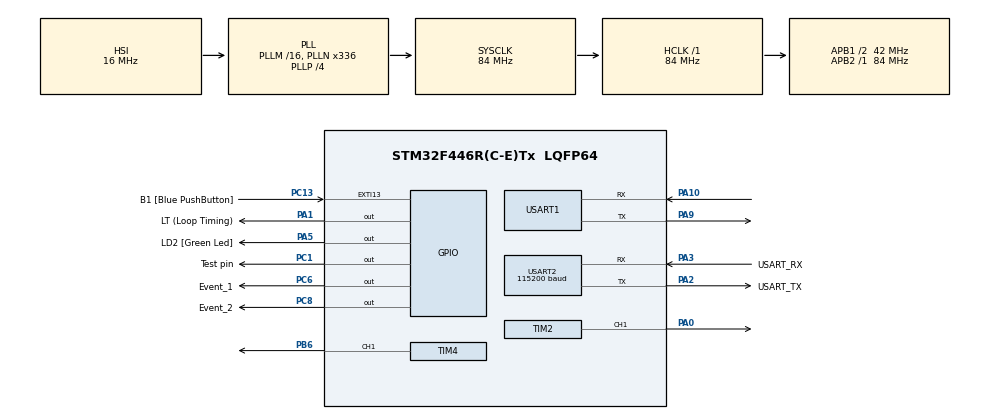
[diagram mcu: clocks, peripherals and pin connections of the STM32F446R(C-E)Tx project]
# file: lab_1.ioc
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ADC1.Channel-1\#ChannelRegularConversion=ADC_CHANNEL_TEMPSENSOR
ADC1.ContinuousConvMode=DISABLE
ADC1.NbrOfConversionFlag=1
ADC1.Rank-1\#ChannelRegularConversion=1
ADC1.SamplingTime-1\#ChannelRegularConversion=ADC_SAMPLETIME_3CYCLES
ADC1.master=1
Mcu.Family=STM32F4
Mcu.Name=STM32F446R(C-E)Tx
Mcu.Package=LQFP64
NVIC.ADC_IRQn=true\:1\:0\:true\:false\:true\:true\:true
NVIC.EXTI15_10_IRQn=true\:1\:0\:true\:false\:true\:true\:true
NVIC.PriorityGroup=NVIC_PRIORITYGROUP_2
NVIC.TIM2_IRQn=true\:0\:0\:false\:false\:true\:true\:true
NVIC.USART2_IRQn=true\:1\:0\:true\:false\:true\:true\:true
PA0-WKUP.Signal=S_TIM2_CH1_ETR
PA1.GPIO_Label=LT (Loop Timing)
PA1.Signal=GPIO_Output
PA10.Mode=Asynchronous
PA10.Signal=USART1_RX
PA13.GPIO_Label=TMS
PA13.Mode=Serial_Wire
PA13.Signal=SYS_JTMS-SWDIO
PA14.GPIO_Label=TCK
PA14.Mode=Serial_Wire
PA14.Signal=SYS_JTCK-SWCLK
PA2.GPIO_Label=USART_TX
PA2.Mode=Asynchronous
PA2.Signal=USART2_TX
PA3.GPIO_Label=USART_RX
PA3.Mode=Asynchronous
PA3.Signal=USART2_RX
PA5.GPIO_Label=LD2 [Green Led]
PA5.Signal=GPIO_Output
PA9.Mode=Asynchronous
PA9.Signal=USART1_TX
PB3.GPIO_Label=SWO
PB3.Signal=SYS_JTDO-SWO
PB6.Signal=S_TIM4_CH1
PC1.GPIO_Label=Test pin
PC1.GPIO_ModeDefaultOutputPP=GPIO_MODE_OUTPUT_PP
PC1.Signal=GPIO_Output
PC13.GPIO_Label=B1 [Blue PushButton]
PC13.GPIO_ModeDefaultEXTI=GPIO_MODE_IT_FALLING
PC13.Signal=GPXTI13
PC14-OSC32_IN.Mode=LSE-External-Oscillator
PC14-OSC32_IN.Signal=RCC_OSC32_IN
PC15-OSC32_OUT.Mode=LSE-External-Oscillator
PC15-OSC32_OUT.Signal=RCC_OSC32_OUT
PC6.GPIO_Label=Event_1
PC6.Signal=GPIO_Output
PC8.GPIO_Label=Event_2
PC8.Signal=GPIO_Output
PH0-OSC_IN.Mode=HSE-External-Oscillator
PH0-OSC_IN.Signal=RCC_OSC_IN
PH1-OSC_OUT.Mode=HSE-External-Oscillator
PH1-OSC_OUT.Signal=RCC_OSC_OUT
ProjectManager.HeapSize=0x200
ProjectManager.StackSize=0x400
ProjectManager.TargetToolchain=STM32CubeIDE
RCC.48MHZClocksFreq_Value=84000000
RCC.AHBFreq_Value=84000000
RCC.APB1CLKDivider=RCC_HCLK_DIV2
RCC.APB1Freq_Value=42000000
RCC.APB1TimFreq_Value=84000000
RCC.APB2Freq_Value=84000000
RCC.APB2TimFreq_Value=84000000
RCC.CortexFreq_Value=84000000
RCC.FLatency-AdvancedSettings=FLASH_LATENCY_2
RCC.HCLKFreq_Value=84000000
RCC.HSE_VALUE=8000000
RCC.HSI_VALUE=16000000
RCC.PLLN=336
RCC.PLLP=RCC_PLLP_DIV4
RCC.SYSCLKFreq_VALUE=84000000
RCC.SYSCLKSource=RCC_SYSCLKSOURCE_PLLCLK
RCC.USBFreq_Value=168000000
RCC.VCOOutputFreq_Value=336000000
SH.S_TIM2_CH1_ETR.0=TIM2_CH1,Output Compare1 CH1
SH.S_TIM4_CH1.0=TIM4_CH1,Output Compare1 CH1
TIM2.Channel-Output\ Compare1\ CH1=TIM_CHANNEL_1
TIM2.OCMode_1=TIM_OCMODE_TIMING
TIM2.Period=7000000
TIM2.Prescaler=11
TIM4.AutoReloadPreload=TIM_AUTORELOAD_PRELOAD_ENABLE
TIM4.Channel-Output\ Compare1\ CH1=TIM_CHANNEL_1
TIM4.CounterMode=TIM_COUNTERMODE_DOWN
TIM4.OCMode_1=TIM_OCMODE_TOGGLE
TIM4.Period=10000
TIM4.Prescaler=83
TIM4.Pulse-Output\ Compare1\ CH1=10
USART1.VirtualMode=VM_ASYNC
USART2.BaudRate=115200
USART2.VirtualMode=VM_ASYNC
VP_ADC1_TempSens_Input.Mode=IN-TempSens
VP_TIM2_VS_ClockSourceINT.Mode=Internal
VP_TIM4_VS_ClockSourceINT.Mode=Internal
board=NUCLEO-F446RE

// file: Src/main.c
/* USER CODE BEGIN Header */
/**
  ******************************************************************************
  * @file           : main.c
  * @brief          : Main program body
  ******************************************************************************
  ** This notice applies to any and all portions of this file
  * that are not between comment pairs USER CODE BEGIN and
  * USER CODE END. Other portions of this file, whether
  * inserted by the user or by software development tools
  * are owned by their respective copyright owners.
  *
  * COPYRIGHT(c) 2019 STMicroelectronics
  *
  * Redistribution and use in source and binary forms, with or without modification,
  * are permitted provided that the following conditions are met:
  *   1. Redistributions of source code must retain the above copyright notice,
  *      this list of conditions and the following disclaimer.
  *   2. Redistributions in binary form must reproduce the above copyright notice,
  *      this list of conditions and the following disclaimer in the documentation
  *      and/or other materials provided with the distribution.
  *   3. Neither the name of STMicroelectronics nor the names of its contributors
  *      may be used to endorse or promote products derived from this software
  *      without specific prior written permission.
  *
  * THIS SOFTWARE IS PROVIDED BY THE COPYRIGHT HOLDERS AND CONTRIBUTORS "AS IS"
  * AND ANY EXPRESS OR IMPLIED WARRANTIES, INCLUDING, BUT NOT LIMITED TO, THE
  * IMPLIED WARRANTIES OF MERCHANTABILITY AND FITNESS FOR A PARTICULAR PURPOSE ARE
  * DISCLAIMED. IN NO EVENT SHALL THE COPYRIGHT HOLDER OR CONTRIBUTORS BE LIABLE
  * FOR ANY DIRECT, INDIRECT, INCIDENTAL, SPECIAL, EXEMPLARY, OR CONSEQUENTIAL
  * DAMAGES (INCLUDING, BUT NOT LIMITED TO, PROCUREMENT OF SUBSTITUTE GOODS OR
  * SERVICES; LOSS OF USE, DATA, OR PROFITS; OR BUSINESS INTERRUPTION) HOWEVER
  * CAUSED AND ON ANY THEORY OF LIABILITY, WHETHER IN CONTRACT, STRICT LIABILITY,
  * OR TORT (INCLUDING NEGLIGENCE OR OTHERWISE) ARISING IN ANY WAY OUT OF THE USE
  * OF THIS SOFTWARE, EVEN IF ADVISED OF THE POSSIBILITY OF SUCH DAMAGE.
  *
  ******************************************************************************
  */
/* USER CODE END Header */
#include "main.h"

/* USER CODE BEGIN Includes */
#include "tasks_lab_1.h"
#include "loop_timer.h"
#include "../Drivers/RTS_libs/FEAT_Scheduler/sch_basic_pub.h"
#include <string.h>

/* USER CODE END Includes */

ADC_HandleTypeDef hadc1;

TIM_HandleTypeDef htim2;
TIM_HandleTypeDef htim4;

UART_HandleTypeDef huart1;
UART_HandleTypeDef huart2;

/* USER CODE BEGIN PV */
struct loop_timer TX_LT = {.location = UART_TX_LOOP, .loop_counting = 0xFF};
struct loop_timer ADC_LT = {.location = ADC_LOOP, .loop_counting = 0xFF};
struct loop_timer RX_LT = {.location = UART_RX_LOOP, .loop_counting = 0xFF};
struct loop_timer BLT = {.location = BLINK_LOOP, .loop_counting = 0xFF};

uint8_t msg1[] = "Triggered!";
uint8_t msg_help[] = "This code monitors for blue/user button trigger, and reads ADC1 when asked with letter 't'";

/* USER CODE END PV */

void SystemClock_Config(void);
static void MX_GPIO_Init(void);
static void MX_USART2_UART_Init(void);
static void MX_ADC1_Init(void);
static void MX_TIM4_Init(void);
static void MX_TIM2_Init(void);
static void MX_USART1_UART_Init(void);

/* USER CODE BEGIN 0 */
const uint8_t RX_BUFF_SZ = 10;
const uint8_t TX_BUFF_SZ = 50;
volatile uint8_t rx_buff[1];
volatile uint8_t tx_buff[50];
uint16_t temperature;
//uint8_t byte;

/* USER CODE END 0 */

int main(void)
{
  /* USER CODE BEGIN 1 */
  sch_power_up ();

  /* USER CODE END 1 */

  /* MCU Configuration--------------------------------------------------------*/

  /* Reset of all peripherals, Initializes the Flash interface and the Systick. */
  HAL_Init();

  /* Configure the system clock */
  SystemClock_Config();

  /* Initialize all configured peripherals */
  MX_GPIO_Init();
  MX_USART2_UART_Init();
  MX_ADC1_Init();
  MX_TIM4_Init();
  MX_TIM2_Init();
  MX_USART1_UART_Init();
  /* USER CODE BEGIN 2 */

	sch_init (); //scheduler init

	lab1_init(); //tasks init

	// Start Timer 4 when SYS TICK increments (to synchronize with it)
	uint32_t old_t = HAL_GetTick();
	while (old_t == HAL_GetTick());	// wait for sys tick to change (increment) -> then start timer
	HAL_TIM_Base_Start(&htim4);
	HAL_TIM_Base_Start_IT(&htim4);
	HAL_TIM_OC_Start(&htim4, TIM_CHANNEL_1 );

	HAL_TIM_Base_Start(&htim2);
	HAL_TIM_Base_Start_IT(&htim2);
	HAL_TIM_OC_Start(&htim2, TIM_CHANNEL_1 );

	HAL_UART_Receive_IT(&huart2, (uint8_t *)rx_buff, 1);
	HAL_ADC_Start_IT(&hadc1);

	// Calibration section - enable to verify calibration settings
	// Experimental timer 4 correction:
	#define CAL_DIV 10

//#if(1)
#if(0)
	// Maximum calibration points
	#define CAL_MAX 10
	static int t[CAL_MAX] = {1,2,3,4,5,9,10,11,1001,10010};
	static uint32_t t4_cal[CAL_MAX] = {0};

//	for (int t=1009; t<20000; t+=1000)
	for ( int i = 0; i<CAL_MAX; i++)
	{
		while (old_t + t[i] + 1 > HAL_GetTick()); // Wait for specific number of ticks and them measure the timer value to get calibration
		t4_cal[i] = __HAL_TIM_GET_COUNTER(&htim2);
	}
	char temp_str[50];
	sprintf(temp_str, "* * * * * * * * * * * * * * * * * * * * * * *\n");
	HAL_UART_Transmit(&huart2, (uint8_t*)temp_str, strlen(temp_str),10);
	sprintf(temp_str, "%ld, old ticks\n",old_t);
	HAL_UART_Transmit(&huart2, (uint8_t*)temp_str, strlen(temp_str),10);
	for (int i=0; i< CAL_MAX; i++)
	{
		int32_t expected = (((7000* t[i]) % 100000));
		sprintf(temp_str, "%d ticks => %lu us, expected=%lu us\n", t[i], t4_cal[i], expected);
		HAL_UART_Transmit(&huart2, (uint8_t*)temp_str, strlen((char*)temp_str),10);
	}
	sprintf(temp_str, "* * * * * * * * * * * * * * * * * * * * * * *\n");
	HAL_UART_Transmit(&huart2, (uint8_t*)temp_str, strlen((char*)temp_str),10);
	// In my runs it demonstrated a 1/10000th difference between HAL/system ticks (1ms resolution) and timer 4 count (1us resolution)
	//     i.e. for very 10,000 ms ticks the timer 4 showed 1ms less on timer count (correction by - ticks/10)
#endif // Calibration section

  /* USER CODE END 2 */

  /* Infinite loop */
  while (1)
  {

    /* USER CODE BEGIN 3 */
	  sch_loop();
  }
  /* USER CODE END 3 */
}

void SystemClock_Config(void)
{
  RCC_OscInitTypeDef RCC_OscInitStruct = {0};
  RCC_ClkInitTypeDef RCC_ClkInitStruct = {0};

  /** Configure the main internal regulator output voltage
  */
  __HAL_RCC_PWR_CLK_ENABLE();
  __HAL_PWR_VOLTAGESCALING_CONFIG(PWR_REGULATOR_VOLTAGE_SCALE3);
  /** Initializes the RCC Oscillators according to the specified parameters
  * in the RCC_OscInitTypeDef structure.
  */
  RCC_OscInitStruct.OscillatorType = RCC_OSCILLATORTYPE_HSI;
  RCC_OscInitStruct.HSIState = RCC_HSI_ON;
  RCC_OscInitStruct.HSICalibrationValue = RCC_HSICALIBRATION_DEFAULT;
  RCC_OscInitStruct.PLL.PLLState = RCC_PLL_ON;
  RCC_OscInitStruct.PLL.PLLSource = RCC_PLLSOURCE_HSI;
  RCC_OscInitStruct.PLL.PLLM = 16;
  RCC_OscInitStruct.PLL.PLLN = 336;
  RCC_OscInitStruct.PLL.PLLP = RCC_PLLP_DIV4;
  RCC_OscInitStruct.PLL.PLLQ = 2;
  RCC_OscInitStruct.PLL.PLLR = 2;
  if (HAL_RCC_OscConfig(&RCC_OscInitStruct) != HAL_OK)
  {
    Error_Handler();
  }
  /** Initializes the CPU, AHB and APB buses clocks
  */
  RCC_ClkInitStruct.ClockType = RCC_CLOCKTYPE_HCLK|RCC_CLOCKTYPE_SYSCLK
                              |RCC_CLOCKTYPE_PCLK1|RCC_CLOCKTYPE_PCLK2;
  RCC_ClkInitStruct.SYSCLKSource = RCC_SYSCLKSOURCE_PLLCLK;
  RCC_ClkInitStruct.AHBCLKDivider = RCC_SYSCLK_DIV1;
  RCC_ClkInitStruct.APB1CLKDivider = RCC_HCLK_DIV2;
  RCC_ClkInitStruct.APB2CLKDivider = RCC_HCLK_DIV1;

  if (HAL_RCC_ClockConfig(&RCC_ClkInitStruct, FLASH_LATENCY_2) != HAL_OK)
  {
    Error_Handler();
  }
}

static void MX_ADC1_Init(void)
{

  ADC_ChannelConfTypeDef sConfig = {0};

  /** Configure the global features of the ADC (Clock, Resolution, Data Alignment and number of conversion)
  */
  hadc1.Instance = ADC1;
  hadc1.Init.ClockPrescaler = ADC_CLOCK_SYNC_PCLK_DIV4;
  hadc1.Init.Resolution = ADC_RESOLUTION_12B;
  hadc1.Init.ScanConvMode = DISABLE;
  hadc1.Init.ContinuousConvMode = DISABLE;
  hadc1.Init.DiscontinuousConvMode = DISABLE;
  hadc1.Init.ExternalTrigConvEdge = ADC_EXTERNALTRIGCONVEDGE_NONE;
  hadc1.Init.ExternalTrigConv = ADC_SOFTWARE_START;
  hadc1.Init.DataAlign = ADC_DATAALIGN_RIGHT;
  hadc1.Init.NbrOfConversion = 1;
  hadc1.Init.DMAContinuousRequests = DISABLE;
  hadc1.Init.EOCSelection = ADC_EOC_SINGLE_CONV;
  if (HAL_ADC_Init(&hadc1) != HAL_OK)
  {
    Error_Handler();
  }
  /** Configure for the selected ADC regular channel its corresponding rank in the sequencer and its sample time.
  */
  sConfig.Channel = ADC_CHANNEL_TEMPSENSOR;
  sConfig.Rank = 1;
  sConfig.SamplingTime = ADC_SAMPLETIME_3CYCLES;
  if (HAL_ADC_ConfigChannel(&hadc1, &sConfig) != HAL_OK)
  {
    Error_Handler();
  }

}

static void MX_TIM2_Init(void)
{

  TIM_ClockConfigTypeDef sClockSourceConfig = {0};
  TIM_MasterConfigTypeDef sMasterConfig = {0};
  TIM_OC_InitTypeDef sConfigOC = {0};

  htim2.Instance = TIM2;
  htim2.Init.Prescaler = 11;
  htim2.Init.CounterMode = TIM_COUNTERMODE_UP;
  htim2.Init.Period = 7000000;
  htim2.Init.ClockDivision = TIM_CLOCKDIVISION_DIV1;
  htim2.Init.AutoReloadPreload = TIM_AUTORELOAD_PRELOAD_DISABLE;
  if (HAL_TIM_Base_Init(&htim2) != HAL_OK)
  {
    Error_Handler();
  }
  sClockSourceConfig.ClockSource = TIM_CLOCKSOURCE_INTERNAL;
  if (HAL_TIM_ConfigClockSource(&htim2, &sClockSourceConfig) != HAL_OK)
  {
    Error_Handler();
  }
  if (HAL_TIM_OC_Init(&htim2) != HAL_OK)
  {
    Error_Handler();
  }
  sMasterConfig.MasterOutputTrigger = TIM_TRGO_RESET;
  sMasterConfig.MasterSlaveMode = TIM_MASTERSLAVEMODE_DISABLE;
  if (HAL_TIMEx_MasterConfigSynchronization(&htim2, &sMasterConfig) != HAL_OK)
  {
    Error_Handler();
  }
  sConfigOC.OCMode = TIM_OCMODE_TIMING;
  sConfigOC.Pulse = 0;
  sConfigOC.OCPolarity = TIM_OCPOLARITY_HIGH;
  sConfigOC.OCFastMode = TIM_OCFAST_DISABLE;
  if (HAL_TIM_OC_ConfigChannel(&htim2, &sConfigOC, TIM_CHANNEL_1) != HAL_OK)
  {
    Error_Handler();
  }
  HAL_TIM_MspPostInit(&htim2);

}

static void MX_TIM4_Init(void)
{

  TIM_ClockConfigTypeDef sClockSourceConfig = {0};
  TIM_MasterConfigTypeDef sMasterConfig = {0};
  TIM_OC_InitTypeDef sConfigOC = {0};

  htim4.Instance = TIM4;
  htim4.Init.Prescaler = 83;
  htim4.Init.CounterMode = TIM_COUNTERMODE_DOWN;
  htim4.Init.Period = 10000;
  htim4.Init.ClockDivision = TIM_CLOCKDIVISION_DIV1;
  htim4.Init.AutoReloadPreload = TIM_AUTORELOAD_PRELOAD_ENABLE;
  if (HAL_TIM_Base_Init(&htim4) != HAL_OK)
  {
    Error_Handler();
  }
  sClockSourceConfig.ClockSource = TIM_CLOCKSOURCE_INTERNAL;
  if (HAL_TIM_ConfigClockSource(&htim4, &sClockSourceConfig) != HAL_OK)
  {
    Error_Handler();
  }
  if (HAL_TIM_OC_Init(&htim4) != HAL_OK)
  {
    Error_Handler();
  }
  sMasterConfig.MasterOutputTrigger = TIM_TRGO_RESET;
  sMasterConfig.MasterSlaveMode = TIM_MASTERSLAVEMODE_DISABLE;
  if (HAL_TIMEx_MasterConfigSynchronization(&htim4, &sMasterConfig) != HAL_OK)
  {
    Error_Handler();
  }
  sConfigOC.OCMode = TIM_OCMODE_TOGGLE;
  sConfigOC.Pulse = 10;
  sConfigOC.OCPolarity = TIM_OCPOLARITY_HIGH;
  sConfigOC.OCFastMode = TIM_OCFAST_DISABLE;
  if (HAL_TIM_OC_ConfigChannel(&htim4, &sConfigOC, TIM_CHANNEL_1) != HAL_OK)
  {
    Error_Handler();
  }
  HAL_TIM_MspPostInit(&htim4);

}

static void MX_USART1_UART_Init(void)
{

  huart1.Instance = USART1;
  huart1.Init.BaudRate = 115200;
  huart1.Init.WordLength = UART_WORDLENGTH_8B;
  huart1.Init.StopBits = UART_STOPBITS_1;
  huart1.Init.Parity = UART_PARITY_NONE;
  huart1.Init.Mode = UART_MODE_TX_RX;
  huart1.Init.HwFlowCtl = UART_HWCONTROL_NONE;
  huart1.Init.OverSampling = UART_OVERSAMPLING_16;
  if (HAL_UART_Init(&huart1) != HAL_OK)
  {
    Error_Handler();
  }

}

static void MX_USART2_UART_Init(void)
{

  huart2.Instance = USART2;
  huart2.Init.BaudRate = 115200;
  huart2.Init.WordLength = UART_WORDLENGTH_8B;
  huart2.Init.StopBits = UART_STOPBITS_1;
  huart2.Init.Parity = UART_PARITY_NONE;
  huart2.Init.Mode = UART_MODE_TX_RX;
  huart2.Init.HwFlowCtl = UART_HWCONTROL_NONE;
  huart2.Init.OverSampling = UART_OVERSAMPLING_16;
  if (HAL_UART_Init(&huart2) != HAL_OK)
  {
    Error_Handler();
  }

}

static void MX_GPIO_Init(void)
{
  GPIO_InitTypeDef GPIO_InitStruct = {0};

  /* GPIO Ports Clock Enable */
  __HAL_RCC_GPIOC_CLK_ENABLE();
  __HAL_RCC_GPIOH_CLK_ENABLE();
  __HAL_RCC_GPIOA_CLK_ENABLE();
  __HAL_RCC_GPIOB_CLK_ENABLE();

  /*Configure GPIO pin Output Level */
  HAL_GPIO_WritePin(GPIOC, Test_pin_Pin|Event_1_Pin|Event_2_Pin, GPIO_PIN_RESET);

  /*Configure GPIO pin Output Level */
  HAL_GPIO_WritePin(GPIOA, LT_Pin|LD2_Pin, GPIO_PIN_RESET);

  /*Configure GPIO pin : B1_Pin */
  GPIO_InitStruct.Pin = B1_Pin;
  GPIO_InitStruct.Mode = GPIO_MODE_IT_FALLING;
  GPIO_InitStruct.Pull = GPIO_NOPULL;
  HAL_GPIO_Init(B1_GPIO_Port, &GPIO_InitStruct);

  /*Configure GPIO pins : Test_pin_Pin Event_1_Pin Event_2_Pin */
  GPIO_InitStruct.Pin = Test_pin_Pin|Event_1_Pin|Event_2_Pin;
  GPIO_InitStruct.Mode = GPIO_MODE_OUTPUT_PP;
  GPIO_InitStruct.Pull = GPIO_NOPULL;
  GPIO_InitStruct.Speed = GPIO_SPEED_FREQ_LOW;
  HAL_GPIO_Init(GPIOC, &GPIO_InitStruct);

  /*Configure GPIO pins : LT_Pin LD2_Pin */
  GPIO_InitStruct.Pin = LT_Pin|LD2_Pin;
  GPIO_InitStruct.Mode = GPIO_MODE_OUTPUT_PP;
  GPIO_InitStruct.Pull = GPIO_NOPULL;
  GPIO_InitStruct.Speed = GPIO_SPEED_FREQ_LOW;
  HAL_GPIO_Init(GPIOA, &GPIO_InitStruct);

  /* EXTI interrupt init*/
  HAL_NVIC_SetPriority(EXTI15_10_IRQn, 1, 0);
  HAL_NVIC_EnableIRQ(EXTI15_10_IRQn);

}

/* USER CODE BEGIN 4 */
void HAL_GPIO_EXTI_Callback(uint16_t GPIO_Pin)
{
	if (GPIO_Pin == GPIO_PIN_13)
		{
		begin_loop_timer( &TX_LT );
		if (HAL_OK != HAL_UART_Transmit(&huart2, msg1, strlen((char*)msg1), 5) )
			printf("Debug error while UART Tx");
		// 5 ticks ~= 5ms
		stop_loop_timer( &TX_LT );
		}
	else
		{
		return;
		}
}

void HAL_UART_RxCpltCallback(UART_HandleTypeDef *huart)
{

	begin_loop_timer( &RX_LT );

	// receive successful a byte
	if ((rx_buff[0]=='t')||(rx_buff[0] == 'T'))
	{
		// Start temperature reading from ADC
		HAL_ADC_Start(&hadc1);
		begin_loop_timer( &ADC_LT );
	}
	if ((rx_buff[0]=='h')||(rx_buff[0]=='H')||(rx_buff[0] == '?'))
	{
		// Start temperature reading from ADC
		HAL_UART_Transmit(&huart2, msg_help, strlen((char*)msg_help),10);
	}
	stop_loop_timer( &RX_LT );

    /* Receive one byte in interrupt mode */
    HAL_UART_Receive_IT(&huart2, (uint8_t *)rx_buff, 1);

}

void HAL_UART_TxCpltCallback(UART_HandleTypeDef *huart)
{
	__NOP();
}

void HAL_UART_ErrorCallback(UART_HandleTypeDef *huart)
{
	__NOP();
}

void HAL_ADC_ConvCpltCallback( ADC_HandleTypeDef* hadc)
{
	// ADC ready
	char temp_str[50];
	uint32_t temperature = HAL_ADC_GetValue(&hadc1);
	sprintf(temp_str, "T=%d\n", (int)temperature);
	HAL_UART_Transmit(&huart2, (uint8_t*)temp_str, strlen(temp_str),5);

	HAL_ADC_Start_IT(&hadc1);

	stop_loop_timer( &ADC_LT );
}

void HAL_TIM_PeriodElapsedCallback(TIM_HandleTypeDef *htim)
{
	stop_loop_timer( &BLT );

	HAL_GPIO_TogglePin(LED_G_PORT,LED_G_PIN);

	begin_loop_timer( &BLT );
	char temp_str[50];
	HAL_TIM_Base_Start_IT(&htim2);
}
/* USER CODE END 4 */

void Error_Handler(void)
{
}

/************************ (C) COPYRIGHT STMicroelectronics *****END OF FILE****/
